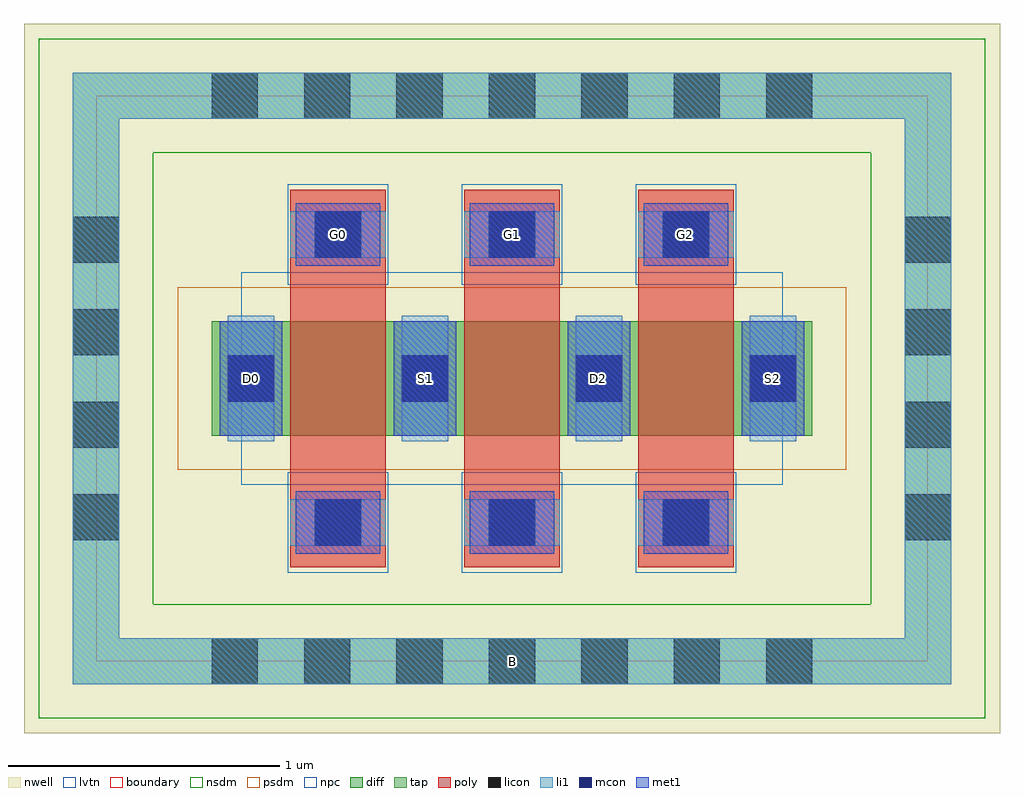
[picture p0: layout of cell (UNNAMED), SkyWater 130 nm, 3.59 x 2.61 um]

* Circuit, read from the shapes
.subckt (UNNAMED) B D0 D2 G0 G1 G2 S1 S2
XM1 S1 G0 D0 B sky130_fd_pr__pfet_01v8_lvt w=0.42 l=0.35
XM2 D2 G1 S1 B sky130_fd_pr__pfet_01v8_lvt w=0.42 l=0.35
XM3 S2 G2 D2 B sky130_fd_pr__pfet_01v8_lvt w=0.42 l=0.35
.ends

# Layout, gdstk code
import gdstk
lib = gdstk.Library(unit=1e-6, precision=1e-09)
def R(c, l, rs):  # rectangles x0, y0, x1, y1
    for r in rs: c.add(gdstk.rectangle(r[:2], r[2:], *l))
def A(c, l, x, y, w, h, nx, ny, dx, dy):  # array of equal rectangles
    R(c, l, [(x+i*dx, y+j*dy, x+i*dx+w, y+j*dy+h) for i in range(nx) for j in range(ny)])
nwell = (64, 20)
diff = (65, 20)
tap = (65, 44)
poly = (66, 20)
licon = (66, 44)
li1 = (67, 20)
mcon = (67, 44)
met1 = (68, 20)
nsdm = (93, 44)
psdm = (94, 20)
npc = (95, 20)
lvtn = (125, 44)
boundary = (235, 4)

c__unnamed_ = lib.new_cell('(UNNAMED)')
R(c__unnamed_, nwell, [(-1.795,-1.305,1.795,1.305)])
R(c__unnamed_, diff, [(-1.105,-0.21,1.105,0.21)])
R(c__unnamed_, tap, [(-1.615,-1.125,1.615,-0.955), (-1.615,-0.955,-1.445,0.955), (1.445,-0.955,1.615,0.955), (-1.615,0.955,1.615,1.125)])
A(c__unnamed_, poly, -0.815, -0.695, 0.35, 1.39, 3, 1, 0.64, 0)
A(c__unnamed_, licon, -1.105, -1.125, 0.17, 0.17, 7, 2, 0.34, 2.08)
A(c__unnamed_, licon, -0.725, -0.615, 0.17, 0.17, 3, 2, 0.64, 1.06)
A(c__unnamed_, licon, -1.615, -0.595, 0.17, 0.17, 1, 4, 0, 0.34)
A(c__unnamed_, licon, 1.445, -0.595, 0.17, 0.17, 1, 4, 0, 0.34)
A(c__unnamed_, licon, -1.045, -0.085, 0.17, 0.17, 4, 1, 0.64, 0)
A(c__unnamed_, li1, -0.815, -0.615, 0.35, 0.17, 3, 2, 0.64, 1.06)
A(c__unnamed_, li1, -1.045, -0.23, 0.17, 0.46, 4, 1, 0.64, 0)
R(c__unnamed_, li1, [(-1.615,-1.125,1.615,-0.955), (-1.615,-0.955,-1.445,0.955), (1.445,-0.955,1.615,0.955), (-1.615,0.955,1.615,1.125)])
A(c__unnamed_, mcon, -0.725, -0.615, 0.17, 0.17, 3, 2, 0.64, 1.06)
A(c__unnamed_, mcon, -1.045, -0.085, 0.17, 0.17, 4, 1, 0.64, 0)
A(c__unnamed_, met1, -0.795, -0.645, 0.31, 0.23, 3, 2, 0.64, 1.06)
A(c__unnamed_, met1, -1.075, -0.21, 0.23, 0.42, 4, 1, 0.64, 0)
R(c__unnamed_, nsdm, [(-1.74,-1.25,1.74,-0.83), (-1.74,-0.83,-1.32,0.83), (1.32,-0.83,1.74,0.83), (-1.74,0.83,1.74,1.25)])
R(c__unnamed_, psdm, [(-1.23,-0.335,1.23,0.335)])
A(c__unnamed_, npc, -0.825, -0.715, 0.37, 0.37, 3, 2, 0.64, 1.06)
R(c__unnamed_, lvtn, [(-0.995,-0.39,0.995,0.39)])
R(c__unnamed_, boundary, [(-1.53,-1.04,1.53,1.04)])
c__unnamed_.add(gdstk.Label('B', (0,-1.04), layer=67, texttype=5))
c__unnamed_.add(gdstk.Label('D0', (-0.96,0), layer=67, texttype=5))
c__unnamed_.add(gdstk.Label('G0', (-0.64,0.53), layer=67, texttype=5))
c__unnamed_.add(gdstk.Label('S1', (-0.32,0), layer=67, texttype=5))
c__unnamed_.add(gdstk.Label('G1', (0,0.53), layer=67, texttype=5))
c__unnamed_.add(gdstk.Label('D2', (0.32,0), layer=67, texttype=5))
c__unnamed_.add(gdstk.Label('S2', (0.96,0), layer=67, texttype=5))
c__unnamed_.add(gdstk.Label('G2', (0.64,0.53), layer=67, texttype=5))

lib.write_gds('_UNNAMED_.gds')
